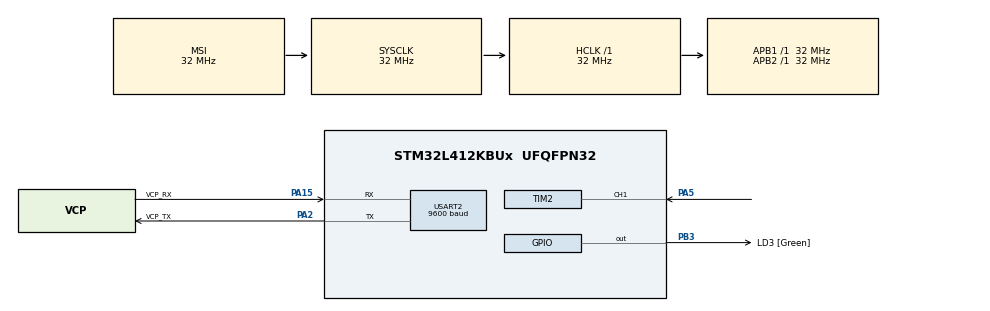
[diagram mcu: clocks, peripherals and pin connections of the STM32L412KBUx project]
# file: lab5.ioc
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ADC1.Channel-0\#ChannelRegularConversion=ADC_CHANNEL_TEMPSENSOR
ADC1.ClockPrescaler=ADC_CLOCK_ASYNC_DIV128
ADC1.NbrOfConversionFlag=1
ADC1.OffsetNumber-0\#ChannelRegularConversion=ADC_OFFSET_NONE
ADC1.Rank-0\#ChannelRegularConversion=1
ADC1.SamplingTime-0\#ChannelRegularConversion=ADC_SAMPLETIME_2CYCLES_5
ADC1.master=1
Mcu.Family=STM32L4
Mcu.Name=STM32L412KBUx
Mcu.Package=UFQFPN32
NVIC.ADC1_2_IRQn=true\:0\:0\:false\:false\:true\:true\:true
NVIC.PriorityGroup=NVIC_PRIORITYGROUP_4
NVIC.RTC_Alarm_IRQn=true\:1\:0\:true\:false\:true\:true\:true
NVIC.RTC_WKUP_IRQn=true\:0\:0\:false\:false\:true\:true\:true
NVIC.TIM2_IRQn=true\:0\:0\:false\:false\:true\:true\:true
NVIC.USART2_IRQn=true\:0\:0\:false\:false\:true\:true\:true
PA0-CK_IN.Mode=HSE-External-Clock-Source-for-LittleOrca
PA0-CK_IN.Signal=RCC_CK_IN
PA13\ (JTMS/SWDIO).GPIO_Label=SWDIO
PA13\ (JTMS/SWDIO).Mode=Serial_Wire
PA13\ (JTMS/SWDIO).Signal=SYS_JTMS-SWDIO
PA14\ (JTCK/SWCLK).GPIO_Label=SWCLK
PA14\ (JTCK/SWCLK).Mode=Serial_Wire
PA14\ (JTCK/SWCLK).Signal=SYS_JTCK-SWCLK
PA15\ (JTDI).GPIO_Label=VCP_RX
PA15\ (JTDI).Mode=Asynchronous
PA15\ (JTDI).Signal=USART2_RX
PA2.GPIO_Label=VCP_TX
PA2.Mode=Asynchronous
PA2.Signal=USART2_TX
PA5.Signal=S_TIM2_CH1
PB3\ (JTDO/TRACESWO).GPIO_Label=LD3 [Green]
PB3\ (JTDO/TRACESWO).Signal=GPIO_Output
PC14-OSC32_IN\ (PC14).Mode=LSE-External-Oscillator
PC14-OSC32_IN\ (PC14).Signal=RCC_OSC32_IN
PC15-OSC32_OUT\ (PC15).Mode=LSE-External-Oscillator
PC15-OSC32_OUT\ (PC15).Signal=RCC_OSC32_OUT
ProjectManager.HeapSize=0x200
ProjectManager.StackSize=0x400
ProjectManager.TargetToolchain=STM32CubeIDE
RCC.ADCFreq_Value=32000000
RCC.AHBFreq_Value=32000000
RCC.APB1Freq_Value=32000000
RCC.APB1TimFreq_Value=32000000
RCC.APB2Freq_Value=32000000
RCC.APB2TimFreq_Value=32000000
RCC.CortexFreq_Value=32000000
RCC.FLatency=FLASH_LATENCY_1
RCC.HCLKFreq_Value=32000000
RCC.HSE_VALUE=8000000
RCC.HSI48_VALUE=48000000
RCC.HSICalibrationValue=16
RCC.HSI_VALUE=16000000
RCC.LSE_Drive_Capability=RCC_LSEDRIVE_LOW
RCC.MSIClockRange=RCC_MSIRANGE_10
RCC.MSI_VALUE=32000000
RCC.SYSCLKFreq_VALUE=32000000
RCC.USBFreq_Value=32000000
RCC.VCOOutputFreq_Value=256000000
RTC.Alarm=RTC_ALARM_A
RTC.AlarmMaskDateWeekDay=RTC_ALARMMASK_DATEWEEKDAY
RTC.AlarmMaskHours=RTC_ALARMMASK_HOURS
RTC.AlarmMaskMinutes=RTC_ALARMMASK_MINUTES
RTC.Seconds_A=1
SH.S_TIM2_CH1.0=TIM2_CH1,Input_Capture1_from_TI1
TIM2.Channel-Input_Capture1_from_TI1=TIM_CHANNEL_1
USART2.BaudRate=9600
USART2.VirtualMode-Asynchronous=VM_ASYNC
VP_ADC1_TempSens_Input.Mode=IN-TempSens
VP_ADC1_Vref_Input.Mode=IN-Vrefint
VP_RTC_VS_RTC_Activate.Mode=RTC_Enabled
VP_RTC_VS_RTC_Alarm_A_Intern.Mode=Alarm A
VP_RTC_VS_RTC_Calendar.Mode=RTC_Calendar
VP_RTC_VS_RTC_WakeUp_intern.Mode=WakeUp
board=NUCLEO-L412KB

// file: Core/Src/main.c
/* USER CODE BEGIN Header */
/**
  ******************************************************************************
  * @file           : main.c
  * @brief          : Main program body
  ******************************************************************************
  * @attention
  *
  * Copyright (c) 2022 STMicroelectronics.
  * All rights reserved.
  *
  * This software is licensed under terms that can be found in the LICENSE file
  * in the root directory of this software component.
  * If no LICENSE file comes with this software, it is provided AS-IS.
  *
  ******************************************************************************
  */
/* USER CODE END Header */
#include "main.h"

/* USER CODE BEGIN Includes */
#include <stdlib.h>
#include <stdio.h>
#include "stm32l4xx_ll_usart.h"
#include <string.h>
#include <retarget.h>
#include <command.h>
#include "queue.h"
#include "temp.h"
#include "battery.h"
#include "flash.h"
/* USER CODE END Includes */

/* USER CODE BEGIN PD */
typedef struct command {
  char * cmd_string;
  int (*cmd_function)(char * arg);
} command_t;
/* USER CODE END PD */

ADC_HandleTypeDef hadc1;

RTC_HandleTypeDef hrtc;

TIM_HandleTypeDef htim2;

UART_HandleTypeDef huart2;

/* USER CODE BEGIN PV */
queue_t rx_queue;
int led_on = 0;
volatile int toggle = 0;
volatile uint32_t period = 0;
volatile uint32_t timer_done = 0;
flash_status_t flash_status;

/* USER CODE END PV */

void SystemClock_Config(void);
static void MX_GPIO_Init(void);
static void MX_USART2_UART_Init(void);
static void MX_RTC_Init(void);
static void MX_ADC1_Init(void);
static void MX_TIM2_Init(void);
/* USER CODE BEGIN PFP */
int help_command(char *args);
int lof_command();
int lon_command();
int test_command(char *args);
int dateSet_command(char *args);
int timeSet_command(char *args);
void printDateTime();
int parse_command (uint8_t *line, uint8_t **command, uint8_t **args);
int execute_command(uint8_t * line);
int tsl237_command(char *arguments);
int temp_command(char *arguments);
int battery_command(char *arguments);
//void log_mem(char *m);
/* USER CODE END PFP */

/* USER CODE BEGIN 0 */
command_t commands[] = {
  {"help",help_command},
  {"lof",lof_command},
  {"lon",lon_command},
  {"test",test_command},
  {"ds",dateSet_command},
  {"ts",timeSet_command},
  {"tsl237",tsl237_command},
  {"temp",temp_command},
  {"battery",battery_command},
  {"sample", sample_command},
  {"data", data_command},
  {"ef", ef_command},
  {"log", log_command},
  {"l", l_command},
  {0,0}
};

void HAL_TIM_IC_CaptureCallback(TIM_HandleTypeDef *htim) {
  enum {EDGE1,EDGE2};
  static uint32_t last = 0;
  static uint32_t state = EDGE1;
  uint32_t next;
  if(htim->Channel == HAL_TIM_ACTIVE_CHANNEL_1){
	  next = htim->Instance->CCR1;
	  switch(state){
	  case EDGE1:
		  last = next;
		  state = EDGE2;
		  break;
	  case EDGE2:
		  if(next>last){
			  period = next-last;
		  }
		  else{
			  period = htim->Instance->ARR - last + next;
		  }
		  state = EDGE1;
		  HAL_TIM_IC_Stop_IT(&htim2,TIM_CHANNEL_1);
		  timer_done = 1;
		  break;
	  default:
		  state = EDGE1;
		  break;
	  }
  }
}
/* USER CODE END 0 */

int main(void)
{

  /* MCU Configuration--------------------------------------------------------*/

  /* Reset of all peripherals, Initializes the Flash interface and the Systick. */
  HAL_Init();

  /* USER CODE BEGIN Init */
  uint8_t command_line[QUEUE_SIZE];
  uint8_t ch;
  //RTC_DateTypeDef date;
  //RTC_TimeTypeDef time;
  int n = 0;
  /* USER CODE END Init */

  /* Configure the system clock */
  SystemClock_Config();

  /* Initialize all configured peripherals */
  MX_GPIO_Init();
  MX_USART2_UART_Init();
  MX_RTC_Init();
  MX_ADC1_Init();
  MX_TIM2_Init();
  /* USER CODE BEGIN 2 */
  HAL_ADC_Init(&hadc1); // Initialize the A2D
  while (HAL_ADCEx_Calibration_Start(&hadc1,ADC_SINGLE_ENDED) != HAL_OK);   // Calibrate the A2D
  RetargetInit(&huart2);
  LL_USART_EnableIT_RXNE(USART2);
  printf("\r\nSystem Running\n\r");
  printf("\r\n IULS>");
  //date.WeekDay = 1;
  //date.Month = 1;
  //date.Date = 1;
 // date.Year = 1;
  //time.Hours = 1;
  //time.Minutes = 1;
  //HAL_RTC_SetDate(&hrtc,&date,RTC_FORMAT_BIN);
  //HAL_RTC_SetTime(&hrtc,&time,RTC_FORMAT_BIN);
  /* USER CODE END 2 */

  /* Infinite loop */
  /* USER CODE BEGIN WHILE */
  flash_write_init(&flash_status);
  while (1)
  {
	if(toggle){
		HAL_GPIO_TogglePin(LD3_GPIO_Port, LD3_Pin);
		HAL_Delay(100);
		HAL_GPIO_TogglePin(LD3_GPIO_Port, LD3_Pin);
		toggle = 0;
	}
    if ((ch = dequeue(&rx_queue))) {
      putchar(ch);
      command_line[n] = ch;
      if(ch == '\r' || ch == '\n'){
    	  command_line[n] = '\0'; //end of string
    	  if(!execute_command(command_line)){
    		  printf("\r\nOK");
    	  }else{
    		  printf("\r\nNOK");
    	  }
    	  n = 0;
    	  printf("\r\n");
    	  printDateTime();
    	  printf(" IULS>");
      }else{
    	  n++;
      }

    }
  }

    /* USER CODE END WHILE */

}

void SystemClock_Config(void)
{
  RCC_OscInitTypeDef RCC_OscInitStruct = {0};
  RCC_ClkInitTypeDef RCC_ClkInitStruct = {0};

  /** Configure the main internal regulator output voltage
  */
  if (HAL_PWREx_ControlVoltageScaling(PWR_REGULATOR_VOLTAGE_SCALE1) != HAL_OK)
  {
    Error_Handler();
  }
  /** Configure LSE Drive Capability
  */
  HAL_PWR_EnableBkUpAccess();
  __HAL_RCC_LSEDRIVE_CONFIG(RCC_LSEDRIVE_LOW);
  /** Initializes the RCC Oscillators according to the specified parameters
  * in the RCC_OscInitTypeDef structure.
  */
  RCC_OscInitStruct.OscillatorType = RCC_OSCILLATORTYPE_LSI|RCC_OSCILLATORTYPE_LSE
                              |RCC_OSCILLATORTYPE_MSI;
  RCC_OscInitStruct.LSEState = RCC_LSE_ON;
  RCC_OscInitStruct.LSIState = RCC_LSI_ON;
  RCC_OscInitStruct.MSIState = RCC_MSI_ON;
  RCC_OscInitStruct.MSICalibrationValue = 0;
  RCC_OscInitStruct.MSIClockRange = RCC_MSIRANGE_10;
  RCC_OscInitStruct.PLL.PLLState = RCC_PLL_NONE;
  if (HAL_RCC_OscConfig(&RCC_OscInitStruct) != HAL_OK)
  {
    Error_Handler();
  }
  /** Initializes the CPU, AHB and APB buses clocks
  */
  RCC_ClkInitStruct.ClockType = RCC_CLOCKTYPE_HCLK|RCC_CLOCKTYPE_SYSCLK
                              |RCC_CLOCKTYPE_PCLK1|RCC_CLOCKTYPE_PCLK2;
  RCC_ClkInitStruct.SYSCLKSource = RCC_SYSCLKSOURCE_MSI;
  RCC_ClkInitStruct.AHBCLKDivider = RCC_SYSCLK_DIV1;
  RCC_ClkInitStruct.APB1CLKDivider = RCC_HCLK_DIV1;
  RCC_ClkInitStruct.APB2CLKDivider = RCC_HCLK_DIV1;

  if (HAL_RCC_ClockConfig(&RCC_ClkInitStruct, FLASH_LATENCY_1) != HAL_OK)
  {
    Error_Handler();
  }
  /** Enable MSI Auto calibration
  */
  HAL_RCCEx_EnableMSIPLLMode();
}

static void MX_ADC1_Init(void)
{

  ADC_MultiModeTypeDef multimode = {0};
  ADC_ChannelConfTypeDef sConfig = {0};

  /** Common config
  */
  hadc1.Instance = ADC1;
  hadc1.Init.ClockPrescaler = ADC_CLOCK_ASYNC_DIV128;
  hadc1.Init.Resolution = ADC_RESOLUTION_12B;
  hadc1.Init.DataAlign = ADC_DATAALIGN_RIGHT;
  hadc1.Init.ScanConvMode = ADC_SCAN_DISABLE;
  hadc1.Init.EOCSelection = ADC_EOC_SINGLE_CONV;
  hadc1.Init.LowPowerAutoWait = DISABLE;
  hadc1.Init.ContinuousConvMode = DISABLE;
  hadc1.Init.NbrOfConversion = 1;
  hadc1.Init.DiscontinuousConvMode = DISABLE;
  hadc1.Init.ExternalTrigConv = ADC_SOFTWARE_START;
  hadc1.Init.ExternalTrigConvEdge = ADC_EXTERNALTRIGCONVEDGE_NONE;
  hadc1.Init.DMAContinuousRequests = DISABLE;
  hadc1.Init.Overrun = ADC_OVR_DATA_PRESERVED;
  hadc1.Init.OversamplingMode = DISABLE;
  if (HAL_ADC_Init(&hadc1) != HAL_OK)
  {
    Error_Handler();
  }
  /** Configure the ADC multi-mode
  */
  multimode.Mode = ADC_MODE_INDEPENDENT;
  if (HAL_ADCEx_MultiModeConfigChannel(&hadc1, &multimode) != HAL_OK)
  {
    Error_Handler();
  }
  /** Configure Regular Channel
  */
  sConfig.Channel = ADC_CHANNEL_TEMPSENSOR;
  sConfig.Rank = ADC_REGULAR_RANK_1;
  sConfig.SamplingTime = ADC_SAMPLETIME_2CYCLES_5;
  sConfig.SingleDiff = ADC_SINGLE_ENDED;
  sConfig.OffsetNumber = ADC_OFFSET_NONE;
  sConfig.Offset = 0;
  if (HAL_ADC_ConfigChannel(&hadc1, &sConfig) != HAL_OK)
  {
    Error_Handler();
  }

}

static void MX_RTC_Init(void)
{

  RTC_TimeTypeDef sTime = {0};
  RTC_DateTypeDef sDate = {0};
  RTC_AlarmTypeDef sAlarm = {0};

  /** Initialize RTC Only
  */
  hrtc.Instance = RTC;
  hrtc.Init.HourFormat = RTC_HOURFORMAT_24;
  hrtc.Init.AsynchPrediv = 127;
  hrtc.Init.SynchPrediv = 255;
  hrtc.Init.OutPut = RTC_OUTPUT_DISABLE;
  hrtc.Init.OutPutRemap = RTC_OUTPUT_REMAP_NONE;
  hrtc.Init.OutPutPolarity = RTC_OUTPUT_POLARITY_HIGH;
  hrtc.Init.OutPutType = RTC_OUTPUT_TYPE_OPENDRAIN;
  hrtc.Init.OutPutPullUp = RTC_OUTPUT_PULLUP_NONE;
  if (HAL_RTC_Init(&hrtc) != HAL_OK)
  {
    Error_Handler();
  }

  /** Initialize RTC and set the Time and Date
  */
  sTime.Hours = 0x0;
  sTime.Minutes = 0x0;
  sTime.Seconds = 0x0;
  sTime.DayLightSaving = RTC_DAYLIGHTSAVING_NONE;
  sTime.StoreOperation = RTC_STOREOPERATION_RESET;
  if (HAL_RTC_SetTime(&hrtc, &sTime, RTC_FORMAT_BCD) != HAL_OK)
  {
    Error_Handler();
  }
  sDate.WeekDay = RTC_WEEKDAY_MONDAY;
  sDate.Month = RTC_MONTH_JANUARY;
  sDate.Date = 0x1;
  sDate.Year = 0x0;

  if (HAL_RTC_SetDate(&hrtc, &sDate, RTC_FORMAT_BCD) != HAL_OK)
  {
    Error_Handler();
  }
  /** Enable the Alarm A
  */
  sAlarm.AlarmTime.Hours = 0x0;
  sAlarm.AlarmTime.Minutes = 0x0;
  sAlarm.AlarmTime.Seconds = 0x1;
  sAlarm.AlarmTime.SubSeconds = 0x0;
  sAlarm.AlarmTime.DayLightSaving = RTC_DAYLIGHTSAVING_NONE;
  sAlarm.AlarmTime.StoreOperation = RTC_STOREOPERATION_RESET;
  sAlarm.AlarmMask = RTC_ALARMMASK_DATEWEEKDAY|RTC_ALARMMASK_HOURS
                              |RTC_ALARMMASK_MINUTES;
  sAlarm.AlarmSubSecondMask = RTC_ALARMSUBSECONDMASK_ALL;
  sAlarm.AlarmDateWeekDaySel = RTC_ALARMDATEWEEKDAYSEL_DATE;
  sAlarm.AlarmDateWeekDay = 0x1;
  sAlarm.Alarm = RTC_ALARM_A;
  if (HAL_RTC_SetAlarm_IT(&hrtc, &sAlarm, RTC_FORMAT_BCD) != HAL_OK)
  {
    Error_Handler();
  }
  /** Enable the WakeUp
  */
  if (HAL_RTCEx_SetWakeUpTimer_IT(&hrtc, 0, RTC_WAKEUPCLOCK_RTCCLK_DIV16, 0) != HAL_OK)
  {
    Error_Handler();
  }

}

static void MX_TIM2_Init(void)
{

  TIM_MasterConfigTypeDef sMasterConfig = {0};
  TIM_IC_InitTypeDef sConfigIC = {0};

  htim2.Instance = TIM2;
  htim2.Init.Prescaler = 0;
  htim2.Init.CounterMode = TIM_COUNTERMODE_UP;
  htim2.Init.Period = 4294967295;
  htim2.Init.ClockDivision = TIM_CLOCKDIVISION_DIV1;
  htim2.Init.AutoReloadPreload = TIM_AUTORELOAD_PRELOAD_DISABLE;
  if (HAL_TIM_IC_Init(&htim2) != HAL_OK)
  {
    Error_Handler();
  }
  sMasterConfig.MasterOutputTrigger = TIM_TRGO_RESET;
  sMasterConfig.MasterSlaveMode = TIM_MASTERSLAVEMODE_DISABLE;
  if (HAL_TIMEx_MasterConfigSynchronization(&htim2, &sMasterConfig) != HAL_OK)
  {
    Error_Handler();
  }
  sConfigIC.ICPolarity = TIM_INPUTCHANNELPOLARITY_RISING;
  sConfigIC.ICSelection = TIM_ICSELECTION_DIRECTTI;
  sConfigIC.ICPrescaler = TIM_ICPSC_DIV1;
  sConfigIC.ICFilter = 0;
  if (HAL_TIM_IC_ConfigChannel(&htim2, &sConfigIC, TIM_CHANNEL_1) != HAL_OK)
  {
    Error_Handler();
  }
  /* USER CODE BEGIN TIM2_Init 2 */
  HAL_TIM_Base_Start_IT(&htim2);   // Turn on the IRQ in the timer
  HAL_TIM_IC_Start_IT(&htim2,TIM_CHANNEL_1); // Turn on the IRQ for CH1 input capture
  /* USER CODE END TIM2_Init 2 */

}

static void MX_USART2_UART_Init(void)
{

  huart2.Instance = USART2;
  huart2.Init.BaudRate = 9600;
  huart2.Init.WordLength = UART_WORDLENGTH_8B;
  huart2.Init.StopBits = UART_STOPBITS_1;
  huart2.Init.Parity = UART_PARITY_NONE;
  huart2.Init.Mode = UART_MODE_TX_RX;
  huart2.Init.HwFlowCtl = UART_HWCONTROL_NONE;
  huart2.Init.OverSampling = UART_OVERSAMPLING_16;
  huart2.Init.OneBitSampling = UART_ONE_BIT_SAMPLE_DISABLE;
  huart2.AdvancedInit.AdvFeatureInit = UART_ADVFEATURE_NO_INIT;
  if (HAL_UART_Init(&huart2) != HAL_OK)
  {
    Error_Handler();
  }

}

static void MX_GPIO_Init(void)
{
  GPIO_InitTypeDef GPIO_InitStruct = {0};

  /* GPIO Ports Clock Enable */
  __HAL_RCC_GPIOC_CLK_ENABLE();
  __HAL_RCC_GPIOA_CLK_ENABLE();
  __HAL_RCC_GPIOB_CLK_ENABLE();

  /*Configure GPIO pin Output Level */
  HAL_GPIO_WritePin(LD3_GPIO_Port, LD3_Pin, GPIO_PIN_RESET);

  /*Configure GPIO pin : LD3_Pin */
  GPIO_InitStruct.Pin = LD3_Pin;
  GPIO_InitStruct.Mode = GPIO_MODE_OUTPUT_PP;
  GPIO_InitStruct.Pull = GPIO_NOPULL;
  GPIO_InitStruct.Speed = GPIO_SPEED_FREQ_LOW;
  HAL_GPIO_Init(LD3_GPIO_Port, &GPIO_InitStruct);

}

/* USER CODE BEGIN 4 */
int execute_command(uint8_t * line) {
  uint8_t *cmd;
  uint8_t *arg;
  command_t *p = commands;
  int success = 1;

  if (!line) {
    return (-1); // Passed a bad pointer
  }
  if (parse_command(line,&cmd,&arg) == -1) {
    printf("Error with parse command\n\r");
    return (-1);
  }
  while (p->cmd_string) {
    if (!strcmp(p->cmd_string,(char *) cmd)) {
      if (!p->cmd_function) {
        return (-1);
      }
      success = (*p->cmd_function)((char *)arg);            // Run the command with the passed arguments
      //success = 1;
      break;
    }
    p++;
  }
  if (success == 0) {
    return (0);
  }
  else {
    return (-1);
  }
  }
int parse_command (uint8_t *line, uint8_t **command, uint8_t **args){

  uint8_t *line_temp;
  if((!line) || (!command) || (!args)){ //check for bad pointer
    return(-1);
  }
  line_temp= line;
  *command = line;
  //strcpy(line_left, line);
  while(*line_temp != ','){ //increment through input to find end of command
    if(!*line_temp){
      *args = '\0'; //no arguments
      return(0);
    }
    line_temp++;
  }

  *line_temp = '\0'; //replace comma with null for end of command string
  *args = line_temp +1; //one char past null is beginning of arguments
  return 0;
}
int help_command(char *args){
  printf("\r\nAvailable Commands:\n\r");
  printf("lon\n\r");
  printf("lof\n\r");
  printf("test\n\r");
  printf("ds\n\r");
  printf("ts\n\r");
  return 0;
}
int lon_command(){
  if(led_on == 0){
    HAL_GPIO_TogglePin(LD3_GPIO_Port, LD3_Pin);
    led_on = 1;
    printf("\r\nLED ON\n\r");
  }else{
    printf("\r\nLED ALREADY ON\n\r");
  }
  return 0;
}
int lof_command(){
  if(led_on == 1){
    HAL_GPIO_TogglePin(LD3_GPIO_Port, LD3_Pin);
    led_on = 0;
    printf("\r\nLED OFF\n\r");
  }else{
    printf("\r\nLED ALREADY OFF\n\r");
  }
  return 0;
}
int test_command(char *args){
  printf("\r\ntest\n\r");
  while(*args!='\0'){
    if(*args!=','){
      putchar(*args);
    }else{
      printf("\r\n");
    }
    args++;
  }
  return 0;
}
void printDateTime(){
	RTC_DateTypeDef date;
	RTC_TimeTypeDef time;
	HAL_RTC_GetTime(&hrtc,&time,RTC_FORMAT_BIN);
	HAL_RTC_GetDate(&hrtc,&date,RTC_FORMAT_BIN);
	printf("%2.2u/%2.2u/%4.4u %2.2u:%2.2u:%2.2u",date.Month,date.Date,date.Year+2000,time.Hours,time.Minutes,time.Seconds);
}
int dateSet_command(char *args){
	RTC_DateTypeDef date;
	//HAL_StatusTypeDef hal;
	int comma_count = 0;
	char* start_of_num = args;
	int numbers[3];
	while(*args!='\0'){
	    if(*args==','){
	    	*args = '\0';
	        numbers[comma_count] = atoi(start_of_num);
	        comma_count += 1;
	        start_of_num = args+1;
	    }
	    if(comma_count>2){
	    	//printf("\r\n error \n\r");
	    	return 1;
	    }
	    args++;
	  }
	numbers[comma_count] = atoi(start_of_num);
	if(numbers[0]>12 || numbers[0] < 1 || numbers[1] > 31 || numbers[1]<1 || numbers[2] > 100 || numbers[2]<0)
		return 1;
	date.WeekDay = 1;
	date.Month = numbers[0];
	date.Date = numbers[1];
	date.Year = numbers[2];
	HAL_RTC_SetDate(&hrtc,&date,RTC_FORMAT_BIN);
	return 0;
	//hal = HAL_RTC_SetDate(&hrtc,&date,RTC_FORMAT_BIN);
	//printf("\r\n%x\r\n",hal);
}
int timeSet_command(char *args){
	RTC_TimeTypeDef time;
	int comma_count = 0;
	char* start_of_num = args;
	int numbers[3];
	while(*args!='\0'){
		if(*args==','){
			*args = '\0';
		    numbers[comma_count] = atoi(start_of_num);
		    comma_count += 1;
		    start_of_num = args+1;
		}
		if(comma_count>2){
			//printf("\r\n error \n\r");
		    return 1;
		}
		args++;
	}
	if(numbers[0]>24 || numbers[0] < 1 || numbers[1] > 60 || numbers[1]<1 || numbers[2] > 60 || numbers[2]< 1)
		return 1;
	numbers[comma_count] = atoi(start_of_num);
	time.Hours = numbers[0];
	time.Minutes = numbers[1];
	time.Seconds = numbers[2];

	HAL_RTC_SetTime(&hrtc,&time,RTC_FORMAT_BIN);
	return 0;
}
void HAL_RTC_AlarmAEventCallback(RTC_HandleTypeDef *hrtc)
{
	toggle=1;
	//HAL_GPIO_TogglePin(LD3_GPIO_Port, LD3_Pin);
}
int tsl237_command(char *args){
	  //float clock_period;
	  //float sensor_period;
	  float sensor_frequency;

	  if (args) {
	    return 1;
	  }
	  else {
		timer_done = 0;
		HAL_TIM_IC_Start_IT(&htim2,TIM_CHANNEL_1);
		while(!timer_done);

	    //clock_period = SystemCoreClock;
	    //clock_period = 1/clock_period;
	    //sensor_period = clock_period * (float) period;
	    sensor_frequency = (1.0/((float)period/(float)SystemCoreClock));
	    printf("\r\n%d.%d hz\r\n", (int) sensor_frequency, ((int)(sensor_frequency*100)%100));
	    return 0;
	  }
}

int temp_command(char *arguments){
	  if (arguments) {
	    return 1;
	  }
	  else {
	    printf("\r\n%d C\n\r",(int)read_temp());
	    return 0;
	  }

}
int battery_command(char *arguments){
	  uint32_t battery_voltage;
	  if (arguments) {
	    return 1;
	  }
	  else {
	    battery_voltage = read_vrefint();
	    printf("\r\n%d.%03d V\n\r",(int)battery_voltage/1000,(int)battery_voltage%1000);
	    return 0;
	  }
}

/* USER CODE END 4 */

void Error_Handler(void)
{
  __disable_irq();
  while (1)
  {
  }
}
